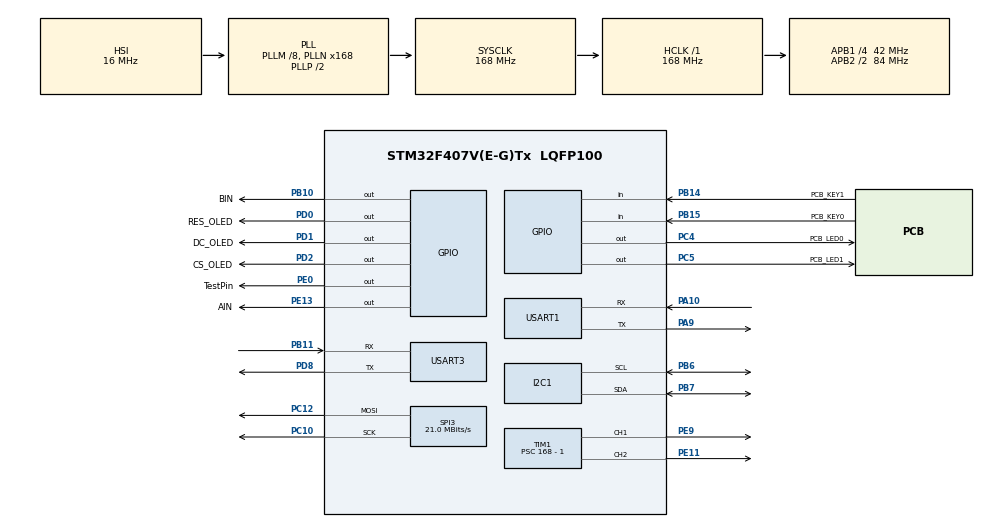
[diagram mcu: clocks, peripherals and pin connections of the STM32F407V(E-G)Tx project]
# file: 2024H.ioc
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Mcu.Family=STM32F4
Mcu.Name=STM32F407V(E-G)Tx
Mcu.Package=LQFP100
NVIC.PriorityGroup=NVIC_PRIORITYGROUP_4
NVIC.TIM1_BRK_TIM9_IRQn=true\:0\:0\:false\:false\:true\:true\:true\:true
NVIC.TIM1_UP_TIM10_IRQn=true\:0\:0\:false\:false\:true\:true\:true\:true
NVIC.USART1_IRQn=true\:0\:0\:false\:false\:true\:true\:true\:true
NVIC.USART3_IRQn=true\:0\:0\:false\:false\:true\:true\:true\:true
PA10.Mode=Asynchronous
PA10.Signal=USART1_RX
PA13.Mode=Serial_Wire
PA13.Signal=SYS_JTMS-SWDIO
PA14.Mode=Serial_Wire
PA14.Signal=SYS_JTCK-SWCLK
PA9.Mode=Asynchronous
PA9.Signal=USART1_TX
PB10.GPIO_Label=BIN
PB10.Signal=GPIO_Output
PB11.Mode=Asynchronous
PB11.Signal=USART3_RX
PB14.GPIO_Label=PCB_KEY1
PB14.GPIO_PuPd=GPIO_PULLDOWN
PB14.Signal=GPIO_Input
PB15.GPIO_Label=PCB_KEY0
PB15.GPIO_PuPd=GPIO_PULLDOWN
PB15.Signal=GPIO_Input
PB6.Mode=I2C
PB6.Signal=I2C1_SCL
PB7.Mode=I2C
PB7.Signal=I2C1_SDA
PC10.Mode=TX_Only_Simplex_Unidirect_Master
PC10.Signal=SPI3_SCK
PC12.Mode=TX_Only_Simplex_Unidirect_Master
PC12.Signal=SPI3_MOSI
PC4.GPIO_Label=PCB_LED0
PC4.Signal=GPIO_Output
PC5.GPIO_Label=PCB_LED1
PC5.Signal=GPIO_Output
PD0.GPIO_Label=RES_OLED
PD0.GPIO_Speed=GPIO_SPEED_FREQ_VERY_HIGH
PD0.Signal=GPIO_Output
PD1.GPIO_Label=DC_OLED
PD1.GPIO_Speed=GPIO_SPEED_FREQ_VERY_HIGH
PD1.Signal=GPIO_Output
PD2.GPIO_Label=CS_OLED
PD2.GPIO_Speed=GPIO_SPEED_FREQ_VERY_HIGH
PD2.Signal=GPIO_Output
PD8.Mode=Asynchronous
PD8.Signal=USART3_TX
PE0.GPIO_Label=TestPin
PE0.GPIO_Speed=GPIO_SPEED_FREQ_HIGH
PE0.Signal=GPIO_Output
PE11.Signal=S_TIM1_CH2
PE13.GPIO_Label=AIN
PE13.Signal=GPIO_Output
PE9.Signal=S_TIM1_CH1
PH0-OSC_IN.Mode=HSE-External-Oscillator
PH0-OSC_IN.Signal=RCC_OSC_IN
PH1-OSC_OUT.Mode=HSE-External-Oscillator
PH1-OSC_OUT.Signal=RCC_OSC_OUT
ProjectManager.HeapSize=0x200
ProjectManager.StackSize=0x400
ProjectManager.TargetToolchain=CMake
RCC.48MHZClocksFreq_Value=84000000
RCC.AHBFreq_Value=168000000
RCC.APB1CLKDivider=RCC_HCLK_DIV4
RCC.APB1Freq_Value=42000000
RCC.APB1TimFreq_Value=84000000
RCC.APB2CLKDivider=RCC_HCLK_DIV2
RCC.APB2Freq_Value=84000000
RCC.APB2TimFreq_Value=168000000
RCC.CortexFreq_Value=168000000
RCC.HCLKFreq_Value=168000000
RCC.HSE_VALUE=8000000
RCC.HSI_VALUE=16000000
RCC.LSE_VALUE=32768
RCC.PLLM=8
RCC.PLLN=168
RCC.SYSCLKFreq_VALUE=168000000
RCC.SYSCLKSource=RCC_SYSCLKSOURCE_PLLCLK
RCC.VCOOutputFreq_Value=336000000
SH.S_TIM1_CH1.0=TIM1_CH1,PWM Generation1 CH1
SH.S_TIM1_CH2.0=TIM1_CH2,PWM Generation2 CH2
SPI3.CalculateBaudRate=21.0 MBits/s
SPI3.Direction=SPI_DIRECTION_2LINES
SPI3.Mode=SPI_MODE_MASTER
SPI3.VirtualType=VM_MASTER
TIM1.Channel-PWM\ Generation1\ CH1=TIM_CHANNEL_1
TIM1.Channel-PWM\ Generation2\ CH2=TIM_CHANNEL_2
TIM1.Period=1000 - 1
TIM1.Prescaler=168 - 1
USART1.VirtualMode=VM_ASYNC
USART3.VirtualMode=VM_ASYNC
VP_TIM1_VS_ClockSourceINT.Mode=Internal
board=custom

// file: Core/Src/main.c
/* USER CODE BEGIN Header */
/**
  ******************************************************************************
  * @file           : main.c
  * @brief          : Main program body
  ******************************************************************************
  * @attention
  *
  * Copyright (c) 2026 STMicroelectronics.
  * All rights reserved.
  *
  * This software is licensed under terms that can be found in the LICENSE file
  * in the root directory of this software component.
  * If no LICENSE file comes with this software, it is provided AS-IS.
  *
  ******************************************************************************
  */
/* USER CODE END Header */
#include "main.h"
#include "i2c.h"
#include "spi.h"
#include "tim.h"
#include "usart.h"
#include "gpio.h"

/* USER CODE BEGIN Includes */
#include <stdio.h>
#include "Protothreads.h"
#include "Log.h"
#include "protocol.h"
#include "static_queue.h"
#include "multikey.h"
#include "oled.h"
#include "mpu6050_user.h"
#include "MadgwickAHRS.h"
#include "mpu6050.h"
#include "tasks.h"
#include "Motor_AT4950.h"
/* USER CODE END Includes */

/* USER CODE BEGIN PM */

int16_t test_num = 0; // 作为测试的全局变量，观察协议发送和接收的正确性
uint8_t protocol_value_dirty = 0;

bool Uart_Protocol_Tranmsit_ForHal(const uint8_t* data, uint16_t len)
{
    return HAL_UART_Transmit(&huart3, (uint8_t*)data, len, 100) == HAL_OK;
}

void Serial_LOG_Transmit(const char* buffer,size_t len)
{
    HAL_UART_Transmit(&huart3, (uint8_t*)buffer, len, 100);
}

void frame_received_handler_Fucntion(uint8_t frame_type, const uint8_t* frame_data, uint16_t frame_len)
{
    LOG_INFO("Received frame of type 0x%02X with length %u. Data:", frame_type, frame_len);
    for (uint16_t i = 0; i < frame_len; i++)
    {
        LOG_INFO("  Byte %u: 0x%02X", i, frame_data[i]);
    }
    if (frame_type == 0x10 && frame_len >= 2)
    {
      test_num = rd_i16_be(frame_data);
      protocol_value_dirty = 1;
      LOG_INFO("Decoded int16 payload: %d", test_num);
    }

}

void Uart_protocol_timeout_handler(uint8_t current_frame_type)
{
  LOG_WARN("Timeout occurred while waiting for ACK of frame type 0x%02X. Handling timeout.", current_frame_type);
}

static void RunAckWaitTest(UART_protocol_t* protocol_instance)
{
  static uint32_t last_test_tick = 0;
  static uint8_t test_counter = 0;
  uint8_t payload;

  if ((HAL_GetTick() - last_test_tick) < 2000U)
  {
    return;
  }

  last_test_tick = HAL_GetTick();
  payload = test_counter++;

  if (Uart_Protocol_Transmit_Frame(protocol_instance, &payload, 0x21, 1))
  {
    LOG_INFO("ACK test frame sent. type=0x21 payload=0x%02X", payload);
  }
  else
  {
    LOG_WARN("Failed to send ACK test frame.");
  }
}

static void RenderProtocolValue(void)
{
  char buffer[24];

  if (protocol_value_dirty == 0U)
  {
    return;
  }

  snprintf(buffer, sizeof(buffer), "RX16:%6d    ", test_num);
  OLED_ShowString(0, 16, (uint8_t*)buffer, 16, 1);
  OLED_Refresh();
  protocol_value_dirty = 0;
}
/* USER CODE END PM */

/* USER CODE BEGIN PV */
Protothread_t IMU_Task;
Protothread_t SerialTask_handle;
Protothread_t OLED0_Task;
Protothread_t OLED1_Task;
Protothread_t OLED2_Task;
Protothread_t OLED3_Task;
MulitKey_t key1;
MulitKey_t key2;
MotorAT4950 motor1;
UART_protocol_t uart_protocol_instance;
uint8_t receive_buffer[UART_PROTOCOL_FRAME_BUFFER_LEN];

Uart_Protocol_FunctionsParameters RequiredParam = {
  .Head_Tial_Frame_struct = {
    .Headerframe1 = 0xAA,
    .Headerframe2 = 0x55,
    .Tailframe1 = 0x55,
    .Tailframe2 = 0xAA
  },
  .transmit_function = Uart_Protocol_Tranmsit_ForHal,
  .frame_received_handler = frame_received_handler_Fucntion,
};

/* USER CODE END PV */

void SystemClock_Config(void);

/* USER CODE BEGIN 0 */
static void SetMotor1Level(uint8_t level)
{
    HAL_GPIO_WritePin(AIN_GPIO_Port, AIN_Pin, (GPIO_PinState)level);
}

static void SetMotor1ComparePWM(uint16_t ccr_value)
{
    __HAL_TIM_SET_COMPARE(&htim1, TIM_CHANNEL_1, ccr_value);
}

/* USER CODE END 0 */

int main(void)
{

  /* MCU Configuration--------------------------------------------------------*/

  /* Reset of all peripherals, Initializes the Flash interface and the Systick. */
  HAL_Init();

  /* Configure the system clock */
  SystemClock_Config();

  /* Initialize all configured peripherals */
  MX_GPIO_Init();
  MX_USART1_UART_Init();
  MX_SPI3_Init();
  MX_I2C1_Init();
  MX_TIM1_Init();
  MX_USART3_UART_Init();
  /* USER CODE BEGIN 2 */
  OLED_Init();
  OLED_Clear();
  OLED_ColorTurn(0);
  OLED_DisplayTurn(0);
  OLED_DisPlay_On();
  PT_INIT(&IMU_Task);
  LOG_Init(Serial_LOG_Transmit);
  MulitKey_Init(&key1,ReadKey1Pin,Key1PressedCallback,Key1PressedCallback,RISE_BORDER_TRIGGER);
  MulitKey_Init(&key2,ReadKey2Pin,Key2PressedCallback,Key2PressedCallback,RISE_BORDER_TRIGGER);

  Uart_Protocol_Init(&uart_protocol_instance, RequiredParam);
  {
    Uart_Protocol_ACKFunctionsParameters ack_param = {
      .GetTick = HAL_GetTick,
      .timeout_handler = Uart_protocol_timeout_handler
    };
    Uart_Protocol_Register_ACK(&uart_protocol_instance, ack_param);
  }
  Uart_Protocol_Register_Parse_WatchDog(&uart_protocol_instance, HAL_GetTick, 400); // 200ms 看门狗超时
  MotorInit_AT46950(&motor1, SetMotor1ComparePWM, SetMotor1Level, 1000);
  SetDefaultDirection(&motor1, High_Level);
  HAL_TIM_Base_Start_IT(&htim1);
  HAL_UARTEx_ReceiveToIdle_IT(&huart3,receive_buffer, sizeof(receive_buffer));
  HAL_TIM_PWM_Start(&htim1, TIM_CHANNEL_1);
  Motor_setSpeed(&motor1, 500); // 设置电机以50%的占空比正向旋转
  LOG_Set_Level(LOG_LEVEL_FATAL);
  LOG_RAW("test raw log\n");
  LOG_DEBUG("test debug log");
  LOG_INFO("test info log");
  LOG_ERROR("test error log");
  LOG_WARN("test warn log");
  LOG_FATAL("test fatal log");
  MulitKey_EnableLongPressRepeat(&key1,false);
  MulitKey_EnableLongPressRepeat(&key2,false);
  /* USER CODE END 2 */

  /* Infinite loop */
  /* USER CODE BEGIN WHILE */
  while (1)
  {
    IMU_task(&IMU_Task);
    MulitKey_Scan(&key1);
    MulitKey_Scan(&key2);
    SerialTask(&SerialTask_handle);
    OLED_ShowPage0(&OLED0_Task);
    OLED_ShowPage1(&OLED1_Task);
    OLED_ShowPage2(&OLED2_Task);
    OLED_ShowPage3(&OLED3_Task);
    Uart_Protocol_Loop(&uart_protocol_instance);
    LOG_Process();
    RenderProtocolValue();
    // RunAckWaitTest(&uart_protocol_instance);
    /* USER CODE END WHILE */

  }
}

void SystemClock_Config(void)
{
  RCC_OscInitTypeDef RCC_OscInitStruct = {0};
  RCC_ClkInitTypeDef RCC_ClkInitStruct = {0};

  /** Configure the main internal regulator output voltage
  */
  __HAL_RCC_PWR_CLK_ENABLE();
  __HAL_PWR_VOLTAGESCALING_CONFIG(PWR_REGULATOR_VOLTAGE_SCALE1);

  /** Initializes the RCC Oscillators according to the specified parameters
  * in the RCC_OscInitTypeDef structure.
  */
  RCC_OscInitStruct.OscillatorType = RCC_OSCILLATORTYPE_HSI;
  RCC_OscInitStruct.HSIState = RCC_HSI_ON;
  RCC_OscInitStruct.HSICalibrationValue = RCC_HSICALIBRATION_DEFAULT;
  RCC_OscInitStruct.PLL.PLLState = RCC_PLL_ON;
  RCC_OscInitStruct.PLL.PLLSource = RCC_PLLSOURCE_HSI;
  RCC_OscInitStruct.PLL.PLLM = 8;
  RCC_OscInitStruct.PLL.PLLN = 168;
  RCC_OscInitStruct.PLL.PLLP = RCC_PLLP_DIV2;
  RCC_OscInitStruct.PLL.PLLQ = 4;
  if (HAL_RCC_OscConfig(&RCC_OscInitStruct) != HAL_OK)
  {
    Error_Handler();
  }

  /** Initializes the CPU, AHB and APB buses clocks
  */
  RCC_ClkInitStruct.ClockType = RCC_CLOCKTYPE_HCLK|RCC_CLOCKTYPE_SYSCLK
                              |RCC_CLOCKTYPE_PCLK1|RCC_CLOCKTYPE_PCLK2;
  RCC_ClkInitStruct.SYSCLKSource = RCC_SYSCLKSOURCE_PLLCLK;
  RCC_ClkInitStruct.AHBCLKDivider = RCC_SYSCLK_DIV1;
  RCC_ClkInitStruct.APB1CLKDivider = RCC_HCLK_DIV4;
  RCC_ClkInitStruct.APB2CLKDivider = RCC_HCLK_DIV2;

  if (HAL_RCC_ClockConfig(&RCC_ClkInitStruct, FLASH_LATENCY_5) != HAL_OK)
  {
    Error_Handler();
  }
}

/* USER CODE BEGIN 4 */

void HAL_TIM_PeriodElapsedCallback(TIM_HandleTypeDef *htim)
{
  static uint32_t counter = 0;
  if (htim->Instance == TIM1)
  {
    if (++counter % 500 == 0)
    {
      // printf("Counter: %lu\n", counter);
    }

  }

}

void HAL_UARTEx_RxEventCallback(UART_HandleTypeDef *huart, uint16_t Size)
{
  if (huart->Instance == USART3)
  {
    Uart_Protocol_ProcessReceivedDataBuffer(&uart_protocol_instance, receive_buffer, Size);
    // LOG_DEBUG("Received %u bytes on USART3. Data:%*s", Size, Size,receive_buffer);
    HAL_UARTEx_ReceiveToIdle_IT(&huart3, receive_buffer, sizeof(receive_buffer));
  }

}

/* USER CODE END 4 */

void Error_Handler(void)
{
  __disable_irq();
  while (1)
  {
  }
}
